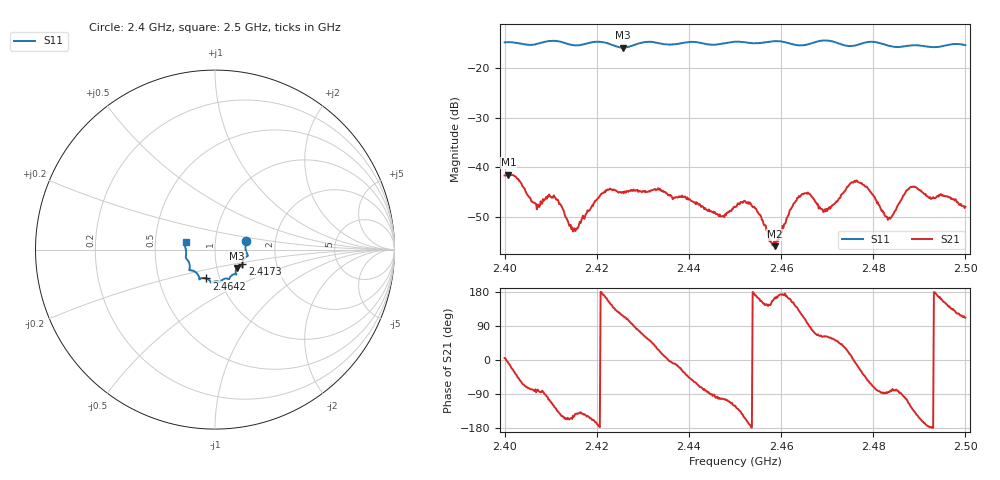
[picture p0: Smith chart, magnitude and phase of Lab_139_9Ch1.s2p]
# Hz S RI R
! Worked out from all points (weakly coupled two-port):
!   601 points, 2.4 GHz to 2.5 GHz, reference 50 ohm
!   highest |S21| = -41.44 dB at 2.4008 GHz (marker M1); lowest = -55.8 dB at 2.4587 GHz (marker M2)
!   lowest |S11| = -15.9 dB at 2.4257 GHz (marker M3), VSWR 1.38, Z = 62.4 - j13.1 ohm
!   |S11| at or under -10 dB: start of sweep to end of sweep
!   S12 and S22 are empty: the file has one direction only
!   S11 on the Smith chart (normalised r, x): 2.4 GHz: 1.41, +0.14; 2.4173 GHz: 1.34, -0.23; 2.4642 GHz: 0.86, -0.29; 2.5 GHz: 0.72, +0.06
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2.4e9  0.1732 0.0497  0.00825 0.00074  0 0  0 0
2.400833e9  0.1751 0.0465  0.00837 -0.00129  0 0  0 0
2.402833e9  0.1739 0.0362  0.00531 -0.00544  0 0  0 0
2.407e9  0.1736 -0.0112  0.000597 -0.00374  0 0  0 0
2.411167e9  0.183 -0.0345  -0.00298 -0.00372  0 0  0 0
2.415e9  0.1589 -0.0557  -0.00203 -0.00117  0 0  0 0
2.416667e9  0.1529 -0.0747  -0.0023 -0.00184  0 0  0 0
2.417333e9  0.1524 -0.082  -0.00244 -0.00182  0 0  0 0
2.421833e9  0.152 -0.0948  -0.00547 0.00131  0 0  0 0
2.425667e9  0.1224 -0.1022  -0.00254 0.00508  0 0  0 0
2.433333e9  0.113 -0.1368  0.00548 0.00285  0 0  0 0
2.446833e9  0.0416 -0.1684  -0.000641 -0.00314  0 0  0 0
2.45e9  0.0297 -0.1807  -0.00203 -0.00344  0 0  0 0
2.453667e9  0.0129 -0.1766  -0.00411 -0.000117  0 0  0 0
2.458667e9  -0.0209 -0.1842  -0.00156 0.000422  0 0  0 0
2.464167e9  -0.0481 -0.161  -0.00293 0.00416  0 0  0 0
2.466667e9  -0.0761 -0.1597  0.000917 0.00496  0 0  0 0
2.469667e9  -0.0877 -0.1667  0.0017 0.00319  0 0  0 0
2.4765e9  -0.122 -0.1178  0.00711 -0.00171  0 0  0 0
2.483333e9  -0.1407 -0.0895  0.000283 -0.0031  0 0  0 0
2.4885e9  -0.1613 -0.0484  -0.00406 -0.0049  0 0  0 0
2.5e9  -0.1635 0.0423  -0.00147 0.00375  0 0  0 0
